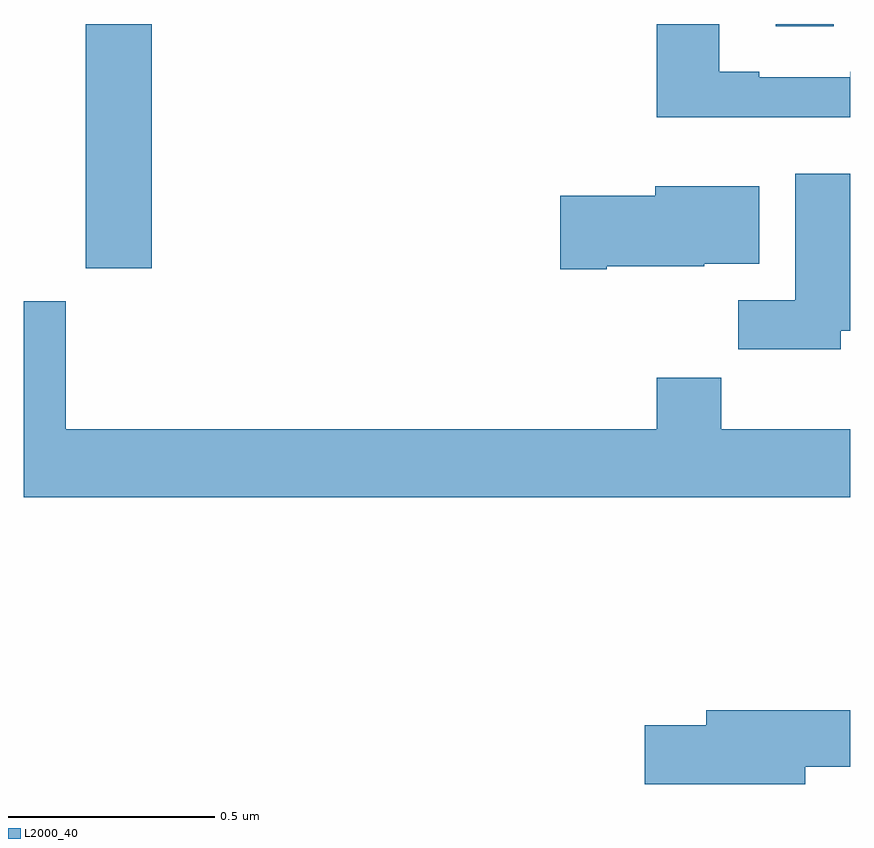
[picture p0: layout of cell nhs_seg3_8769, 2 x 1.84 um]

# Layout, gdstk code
import gdstk
lib = gdstk.Library(unit=1e-6, precision=1e-09)
def R(c, l, rs):  # rectangles x0, y0, x1, y1
    for r in rs: c.add(gdstk.rectangle(r[:2], r[2:], *l))
def P(c, l, *ps):  # polygons
    for p in ps: c.add(gdstk.Polygon(p, *l))
L2000_40 = (2000, 40)

nhs_seg3_8769 = lib.new_cell('nhs_seg3_8769')
R(nhs_seg3_8769, L2000_40, [(220.15,694.809,220.31,695.4), (221.819,695.394,221.959,695.4)])
P(nhs_seg3_8769, L2000_40, [(222,695.284),(221.999,695.284),(221.999,695.271),(221.779,695.271),(221.779,695.284),(221.683,695.284),(221.683,695.4),(221.531,695.4),(221.531,695.174),(222,695.174)],
  [(221.977,694.658),(222,694.658),(222,695.038),(221.867,695.038),(221.867,694.732),(221.728,694.732),(221.728,694.614),(221.977,694.614)],
  [(221.41,694.814),(221.646,694.814),(221.646,694.82),(221.779,694.82),(221.779,695.008),(221.528,695.008),(221.528,694.985),(221.298,694.985),(221.298,694.807),(221.41,694.807)],
  [(222,694.42),(221.687,694.42),(221.687,694.544),(221.531,694.544),(221.531,694.42),(220.102,694.42),(220.102,694.729),(220,694.729),(220,694.256),(222,694.256)],
  [(221.89,693.604),(222,693.604),(222,693.74),(221.651,693.74),(221.651,693.704),(221.502,693.704),(221.502,693.562),(221.89,693.562)])

lib.write_gds('nhs_seg3_8769.gds')
